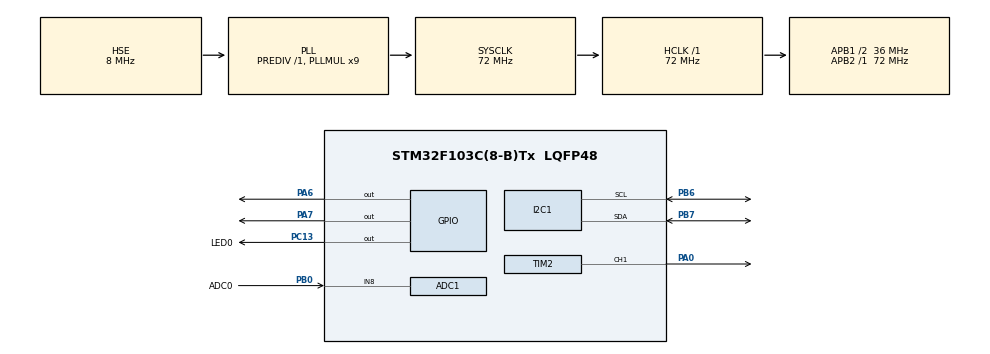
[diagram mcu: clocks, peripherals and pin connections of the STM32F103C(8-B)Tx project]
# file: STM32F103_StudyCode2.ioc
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ADC1.Channel-8\#ChannelRegularConversion=ADC_CHANNEL_8
ADC1.EnableAnalogWatchDog=false
ADC1.NbrOfConversionFlag=1
ADC1.Rank-8\#ChannelRegularConversion=1
ADC1.SamplingTime-8\#ChannelRegularConversion=ADC_SAMPLETIME_1CYCLE_5
ADC1.master=1
I2C1.I2C_Mode=I2C_Fast
Mcu.Family=STM32F1
Mcu.Name=STM32F103C(8-B)Tx
Mcu.Package=LQFP48
NVIC.PriorityGroup=NVIC_PRIORITYGROUP_4
PA0-WKUP.GPIO_Speed=GPIO_SPEED_FREQ_MEDIUM
PA0-WKUP.Signal=S_TIM2_CH1_ETR
PA13.Mode=Serial_Wire
PA13.Signal=SYS_JTMS-SWDIO
PA14.Mode=Serial_Wire
PA14.Signal=SYS_JTCK-SWCLK
PA6.GPIO_PuPd=GPIO_PULLUP
PA6.PinState=GPIO_PIN_SET
PA6.Signal=GPIO_Output
PA7.GPIO_PuPd=GPIO_PULLUP
PA7.PinState=GPIO_PIN_SET
PA7.Signal=GPIO_Output
PB0.GPIO_Label=ADC0
PB0.Signal=ADCx_IN8
PB6.Mode=I2C
PB6.Signal=I2C1_SCL
PB7.Mode=I2C
PB7.Signal=I2C1_SDA
PC13-TAMPER-RTC.GPIO_Label=LED0
PC13-TAMPER-RTC.GPIO_PuPd=GPIO_PULLUP
PC13-TAMPER-RTC.PinState=GPIO_PIN_SET
PC13-TAMPER-RTC.Signal=GPIO_Output
PD0-OSC_IN.Mode=HSE-External-Oscillator
PD0-OSC_IN.Signal=RCC_OSC_IN
PD1-OSC_OUT.Mode=HSE-External-Oscillator
PD1-OSC_OUT.Signal=RCC_OSC_OUT
ProjectManager.HeapSize=0x200
ProjectManager.StackSize=0x400
ProjectManager.TargetToolchain=STM32CubeIDE
RCC.ADCPresc=RCC_ADCPCLK2_DIV6
RCC.AHBFreq_Value=72000000
RCC.APB1CLKDivider=RCC_HCLK_DIV2
RCC.APB1Freq_Value=36000000
RCC.APB1TimFreq_Value=72000000
RCC.APB2Freq_Value=72000000
RCC.APB2TimFreq_Value=72000000
RCC.EnbaleCSS=true
RCC.HCLKFreq_Value=72000000
RCC.PLLMUL=RCC_PLL_MUL9
RCC.PLLSourceVirtual=RCC_PLLSOURCE_HSE
RCC.SYSCLKFreq_VALUE=72000000
RCC.SYSCLKSource=RCC_SYSCLKSOURCE_PLLCLK
RCC.USBFreq_Value=72000000
SH.ADCx_IN8.0=ADC1_IN8,IN8
SH.S_TIM2_CH1_ETR.0=TIM2_CH1,PWM Generation1 CH1
TIM2.Channel-PWM\ Generation1\ CH1=TIM_CHANNEL_1
TIM2.Period=999
TIM2.Prescaler=71
VP_ADC1_TempSens_Input.Mode=IN-TempSens
VP_ADC1_Vref_Input.Mode=IN-Vrefint
VP_TIM2_VS_ClockSourceINT.Mode=Internal
board=custom

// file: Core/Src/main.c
/* USER CODE BEGIN Header */
/**
  ******************************************************************************
  * @file           : main.c
  * @brief          : Main program body
  ******************************************************************************
  * @attention
  *
  * Copyright (c) 2023 STMicroelectronics.
  * All rights reserved.
  *
  * This software is licensed under terms that can be found in the LICENSE file
  * in the root directory of this software component.
  * If no LICENSE file comes with this software, it is provided AS-IS.
  *
  ******************************************************************************
  */
/* USER CODE END Header */
#include "main.h"
#include "adc.h"
#include "i2c.h"
#include "tim.h"
#include "gpio.h"

/* USER CODE BEGIN Includes */
#include "bsp_adc.h"
#include "OLED.h"
#include <stdio.h>
#include <stdint.h>
/* USER CODE END Includes */

/* USER CODE BEGIN PV */
//fp32 voltage;
//fp32 temperature;
//uint8_t handware_version;
fp32 resistor_percent;
fp32 resistor_voltage;
fp32 resistor_value;
uint8_t voltage_str[4] = {};
uint8_t resistor_str[6] = {};
/* USER CODE END PV */

void SystemClock_Config(void);

/* USER CODE BEGIN PFP */
/**
 * 这个函数主要是将浮点数转换成uint8_t类型字符串（在保留2位小数的情况下）。
 * */
void float_to_uint8_string(float num, uint8_t *str) {
    // 格式化输出，保留两位小数
    snprintf(str, sizeof(str) + 1, "%.2f", num);
}
/* USER CODE END PFP */

int main(void) {

    /* MCU Configuration--------------------------------------------------------*/

    /* Reset of all peripherals, Initializes the Flash interface and the Systick. */
    HAL_Init();

    /* Configure the system clock */
    SystemClock_Config();

    /* Initialize all configured peripherals */
    MX_GPIO_Init();
    MX_ADC1_Init();
    MX_I2C1_Init();
    MX_TIM2_Init();
    /* USER CODE BEGIN 2 */
/**
 * 定时器开始
 * pwm波生成开始*/
    HAL_TIM_Base_Start(&htim2);
    HAL_TIM_PWM_Start(&htim2, TIM_CHANNEL_1);

    //use vrefint voltage to calibrate
    //浣跨敤鍩哄噯鐢靛帇鏉ユ牎鍑?
    /**
     * 生成校准数*/
    init_vrefint_reciprocal();
    /**
     * OLED初始化函数*/
    OLED_init();
    OLED_LOGO();
    HAL_Delay(2000);
    /*oled清屏*/
    OLED_operate_gram(PEN_CLEAR);
    /* USER CODE END 2 */

    /* Infinite loop */
    while (1) {

        /* USER CODE BEGIN 3 */
        /*获取可调电阻的电压与3.3v的比值*/
        resistor_percent = get_resistor_percent();
        /*计算可调电阻的电压*/
        resistor_voltage = resistor_percent * 3.3f;
        /*每一次while循环中oled清屏*/
        OLED_operate_gram(PEN_CLEAR);
        /*oled显示提示词*/
        OLED_show_string(0, 0, "The voltage of R is:");
        OLED_show_string(2, 0, "The value of R is:");
        /*将浮点数电压转换成字符串*/
        float_to_uint8_string(resistor_voltage, voltage_str);
        /*显示可调电阻电压*/
        OLED_show_string(1, 0, voltage_str);
        OLED_show_string(1, 4, "V");
        /*计算可调电阻的阻值*/
        resistor_value = resistor_voltage * 1 / (3.3f - resistor_voltage);
        /*转换浮点数阻值为字符串*/
        float_to_uint8_string(resistor_value, resistor_str);
        /*显示可调电阻电阻*/
        OLED_show_string(3, 0, resistor_str);
        OLED_show_string(3, 6, "kR");
        /*利用可调电阻的电压与3.3V的比值乘于重载值作为pwm的比较值来改变pwm波的占空比*/
        __HAL_TIM_SET_COMPARE(&htim2, TIM_CHANNEL_1, (uint16_t) (resistor_percent * 999));
    }
    /* USER CODE END 3 */
}

void SystemClock_Config(void) {
    RCC_OscInitTypeDef RCC_OscInitStruct = {0};
    RCC_ClkInitTypeDef RCC_ClkInitStruct = {0};
    RCC_PeriphCLKInitTypeDef PeriphClkInit = {0};

    /** Initializes the RCC Oscillators according to the specified parameters
    * in the RCC_OscInitTypeDef structure.
    */
    RCC_OscInitStruct.OscillatorType = RCC_OSCILLATORTYPE_HSE;
    RCC_OscInitStruct.HSEState = RCC_HSE_ON;
    RCC_OscInitStruct.HSEPredivValue = RCC_HSE_PREDIV_DIV1;
    RCC_OscInitStruct.HSIState = RCC_HSI_ON;
    RCC_OscInitStruct.PLL.PLLState = RCC_PLL_ON;
    RCC_OscInitStruct.PLL.PLLSource = RCC_PLLSOURCE_HSE;
    RCC_OscInitStruct.PLL.PLLMUL = RCC_PLL_MUL9;
    if (HAL_RCC_OscConfig(&RCC_OscInitStruct) != HAL_OK) {
        Error_Handler();
    }

    /** Initializes the CPU, AHB and APB buses clocks
    */
    RCC_ClkInitStruct.ClockType = RCC_CLOCKTYPE_HCLK | RCC_CLOCKTYPE_SYSCLK
                                  | RCC_CLOCKTYPE_PCLK1 | RCC_CLOCKTYPE_PCLK2;
    RCC_ClkInitStruct.SYSCLKSource = RCC_SYSCLKSOURCE_PLLCLK;
    RCC_ClkInitStruct.AHBCLKDivider = RCC_SYSCLK_DIV1;
    RCC_ClkInitStruct.APB1CLKDivider = RCC_HCLK_DIV2;
    RCC_ClkInitStruct.APB2CLKDivider = RCC_HCLK_DIV1;

    if (HAL_RCC_ClockConfig(&RCC_ClkInitStruct, FLASH_LATENCY_2) != HAL_OK) {
        Error_Handler();
    }
    PeriphClkInit.PeriphClockSelection = RCC_PERIPHCLK_ADC;
    PeriphClkInit.AdcClockSelection = RCC_ADCPCLK2_DIV6;
    if (HAL_RCCEx_PeriphCLKConfig(&PeriphClkInit) != HAL_OK) {
        Error_Handler();
    }

    /** Enables the Clock Security System
    */
    HAL_RCC_EnableCSS();
}

void Error_Handler(void) {
    __disable_irq();
    while (1) {
    }
}
